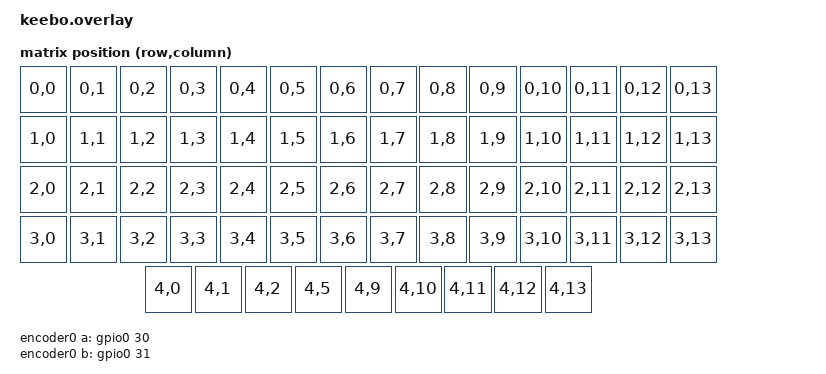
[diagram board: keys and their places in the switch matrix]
#include <dt-bindings/zmk/matrix_transform.h>
#include "keebo-layout.dtsi"
#include <dt-bindings/led/led.h>

/ {

    chosen {
        zmk,physical-layout = &physical_layout0;
        zmk,underglow = &led_strip;
    };

    &spi2 {
        status = "okay";
        cs-gpios = <&gpio1 3 GPIO_ACTIVE_LOW>;
        shifter: 595@0 {
            compatible = "zmk,gpio-595";
            status = "okay";
            gpio-controller;
            spi-max-frequency = <200000>;
            reg = <0>;
            #gpio-cells = <2>;
            ngpios = <8>;
        };
    };

    kscan0: kscan {
        // compatible = "zmk,kscan-gpio-custom";
        // wakeup-source;
        // cols = <14>;
        // debounce-period = <5>;
        // polling-interval-msec = <1>;
        // in-addr-gpios
        // = <&gpio1 3 GPIO_ACTIVE_HIGH>
        // , <&gpio1 2 GPIO_ACTIVE_HIGH>
        // , <&gpio0 27 GPIO_ACTIVE_HIGH>
        // ;
        // in-data-gpios
        // = <&gpio1 15 (GPIO_ACTIVE_HIGH | GPIO_PULL_DOWN)>
        // , <&gpio1 14 (GPIO_ACTIVE_HIGH | GPIO_PULL_DOWN)>
        // ;
        // output-gpios
        // = <&gpio1 13 (GPIO_ACTIVE_HIGH | GPIO_PULL_DOWN)>
        // , <&gpio1 12 (GPIO_ACTIVE_HIGH | GPIO_PULL_DOWN)>
        // , <&gpio1 11 (GPIO_ACTIVE_HIGH | GPIO_PULL_DOWN)>
        // , <&gpio1 10 (GPIO_ACTIVE_HIGH | GPIO_PULL_DOWN)>
        // , <&gpio1 9  (GPIO_ACTIVE_HIGH | GPIO_PULL_DOWN)>
        // ;

        compatible = "zmk,kscan-gpio-matrix";
        wakeup-source;
        diode-direction = "col2row";
        col-gpios
            = <>

        row-gpios
            = <>
    };

    default_transform: keymap_transform0 {
        compatible = "zmk,matrix-transform";
        columns = <14>; 
        rows = <5>; 
        map = < RC(0,0) RC(0,1) RC(0,2) RC(0,3) RC(0,4) RC(0,5) RC(0,6) RC(0,7) RC(0,8) RC(0,9) RC(0,10) RC(0,11) RC(0,12) RC(0,13) 
                RC(1,0) RC(1,1) RC(1,2) RC(1,3) RC(1,4) RC(1,5) RC(1,6) RC(1,7) RC(1,8) RC(1,9) RC(1,10) RC(1,11) RC(1,12) RC(1,13)
                RC(2,0) RC(2,1) RC(2,2) RC(2,3) RC(2,4) RC(2,5) RC(2,6) RC(2,7) RC(2,8) RC(2,9) RC(2,10) RC(2,11) RC(2,12) RC(2,13)  
                RC(3,0) RC(3,1) RC(3,2) RC(3,3) RC(3,4) RC(3,5) RC(3,6) RC(3,7) RC(3,8) RC(3,9) RC(3,10) RC(3,11) RC(3,12) RC(3,13) 
                RC(4,0) RC(4,1) RC(4,2)                 RC(4,5)                         RC(4,9) RC(4,10) RC(4,11) RC(4,12) RC(4,13) 
        >;
    };

    encoder0: encoder {
        compatible = "alps,ec11";
        a-gpios = <&gpio0 30 (GPIO_ACTIVE_HIGH | GPIO_PULL_UP)>;
        b-gpios = <&gpio0 31 (GPIO_ACTIVE_HIGH | GPIO_PULL_UP)>;
        steps = <30>;
        status = "okay";
    };

    sensors: sensors {
        compatible = "zmk,keymap-sensors";
        sensors = <&encoder0>;
        triggers-per-rotation = <15>;
    };

};

&pinctrl {
    spi3_default: spi3_default {
        group1 {
            psels = <NRF_PSEL(SPIM_MOSI, 1, 10)>,
                    <NRF_PSEL(SPIM_SCK, 1, 11)>;
        };
    };

    spi3_sleep: spi3_sleep {
        group1 {
            psels = <NRF_PSEL(SPIM_MOSI, 1, 10)>,
                    <NRF_PSEL(SPIM_SCK, 1, 11)>;
            low-power-enable;
        };
    };
};

&spi3 {
    compatible = "nordic,nrf-spim";
    status = "okay";

    pinctrl-0 = <&spi3_default>;
    pinctrl-1 = <&spi3_sleep>;
    pinctrl-names = "default", "sleep";

    led_strip: ws2812@0 {
        compatible = "worldsemi,ws2812-spi";

        /* SPI */
        reg = <0>; /* ignored, but necessary for SPI bindings */
        spi-max-frequency = <4000000>;

        /* WS2812 */
        chain-length = <14>; /* number of LEDs */
        spi-one-frame = <0x70>;
        spi-zero-frame = <0x40>;
        color-mapping = <LED_COLOR_ID_GREEN
                         LED_COLOR_ID_RED
                         LED_COLOR_ID_BLUE>;
    };
};

&physical_layout0 {
    kscan = <&kscan0>;
    transform = <&default_transform>;
};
